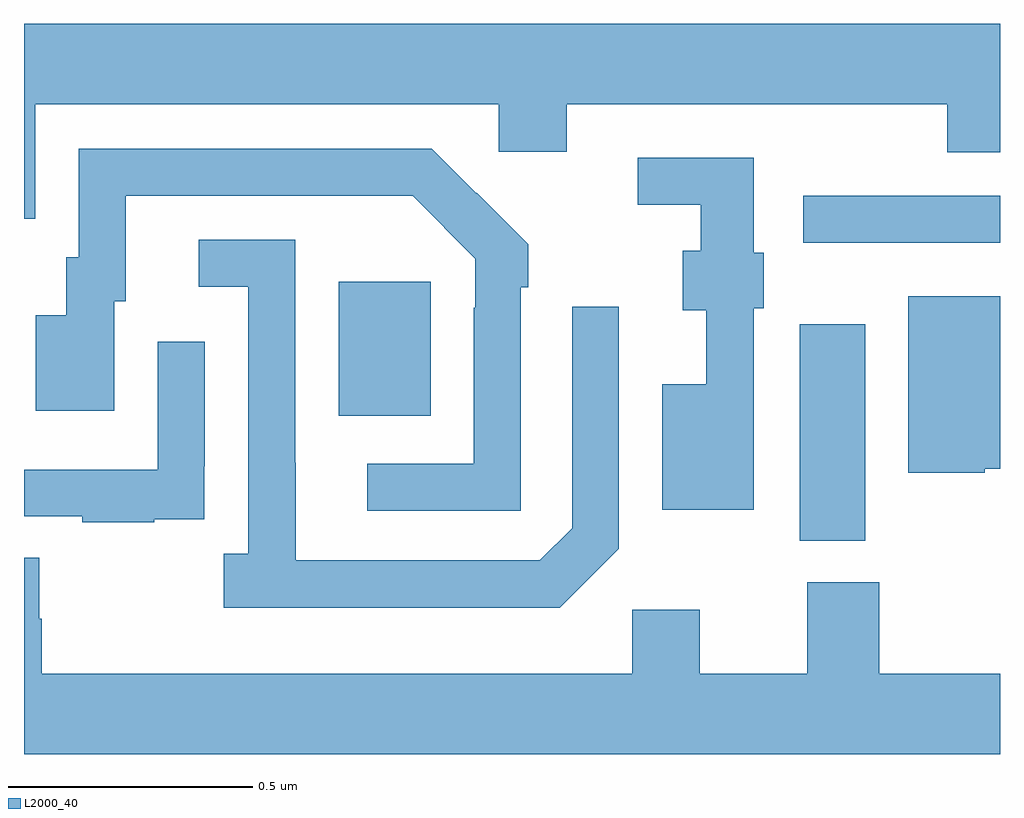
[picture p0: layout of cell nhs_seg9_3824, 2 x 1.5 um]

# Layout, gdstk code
import gdstk
lib = gdstk.Library(unit=1e-6, precision=1e-09)
def R(c, l, rs):  # rectangles x0, y0, x1, y1
    for r in rs: c.add(gdstk.rectangle(r[:2], r[2:], *l))
def P(c, l, *ps):  # polygons
    for p in ps: c.add(gdstk.Polygon(p, *l))
L2000_40 = (2000, 40)

nhs_seg9_3824 = lib.new_cell('nhs_seg9_3824')
R(nhs_seg9_3824, L2000_40, [(159.59,1218.169,159.724,1218.613), (158.645,1218.425,158.833,1218.7), (159.597,1218.78,160,1218.876)])
P(nhs_seg9_3824, L2000_40, [(158.023,1219.064),(158.973,1219.064),(158.973,1218.966),(159.112,1218.966),(159.112,1219.064),(159.892,1219.064),(159.892,1218.965),(160,1218.965),(160,1219.228),(158,1219.228),(158,1218.829),(158.023,1218.829)],
  [(159.018,1218.689),(159.033,1218.689),(159.033,1218.777),(158.928,1218.882),(158.927,1218.881),(158.836,1218.972),(158.112,1218.972),(158.112,1218.75),(158.087,1218.75),(158.087,1218.631),(158.024,1218.631),(158.024,1218.435),(158.185,1218.435),(158.185,1218.66),(158.209,1218.66),(158.209,1218.876),(158.797,1218.876),(158.925,1218.747),(158.925,1218.647),(158.922,1218.647),(158.922,1218.327),(158.703,1218.327),(158.703,1218.231),(159.018,1218.231)],
  [(159.495,1218.645),(159.516,1218.645),(159.516,1218.759),(159.495,1218.759),(159.495,1218.954),(159.258,1218.954),(159.258,1218.858),(159.387,1218.858),(159.387,1218.763),(159.35,1218.763),(159.35,1218.641),(159.398,1218.641),(159.398,1218.49),(159.308,1218.49),(159.308,1218.233),(159.495,1218.233)],
  [(159.219,1218.153),(159.219,1218.649),(159.123,1218.649),(159.123,1218.195),(159.057,1218.129),(158.557,1218.129),(158.557,1218.329),(158.556,1218.329),(158.556,1218.786),(158.358,1218.786),(158.358,1218.69),(158.46,1218.69),(158.46,1218.142),(158.409,1218.142),(158.409,1218.032),(159.098,1218.032)],
  [(159.969,1218.317),(160,1218.317),(160,1218.67),(159.812,1218.67),(159.812,1218.308),(159.969,1218.308)],
  [(158.267,1218.213),(158.369,1218.213),(158.369,1218.322),(158.37,1218.322),(158.37,1218.577),(158.274,1218.577),(158.274,1218.315),(158,1218.315),(158,1218.219),(158.119,1218.219),(158.119,1218.207),(158.267,1218.207)],
  [(160,1217.896),(159.753,1217.896),(159.753,1218.084),(159.605,1218.084),(159.605,1217.896),(159.385,1217.896),(159.385,1218.028),(159.246,1218.028),(159.246,1217.896),(158.036,1217.896),(158.036,1218.009),(158.031,1218.009),(158.031,1218.134),(158,1218.134),(158,1217.732),(160,1217.732)])

lib.write_gds('nhs_seg9_3824.gds')
